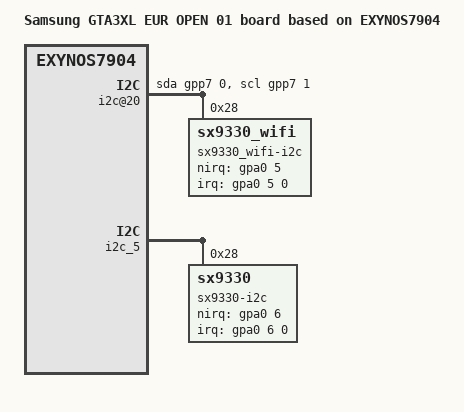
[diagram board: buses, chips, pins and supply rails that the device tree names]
/*
 * SAMSUNG EXYNOS7904 board device tree source

 *
 * Copyright (c) 2018 Samsung Electronics Co., Ltd.
 *		http://www.samsung.com
 *
 * This program is free software; you can redistribute it and/or modify
 * it under the terms of the GNU General Public License version 2 as
 * published by the Free Software Foundation.
*/

/dts-v1/;
/plugin/;

#include "exynos7904-gta3xl_common.dtsi"
#include "exynos7904-gta3xl_eur_open_gpio_00.dtsi"


/ {
	compatible = "samsung,GTA3XL EUR OPEN 01", "samsung,EXYNOS7904";

	dtbo-hw_rev = <1>;
    dtbo-hw_rev_end = <1>;


	fragment@model {
		target-path = "/";
		__overlay__ {
			#address-cells = <2>;
			#size-cells = <1>;

			model = "Samsung GTA3XL EUR OPEN 01 board based on EXYNOS7904";

			i2c@20 {
				compatible = "i2c-gpio";
				gpios = <&gpp7 0 0
						&gpp7 1 0>;
				i2c-gpio,delay-us = <2>;
				pinctrl-names = "default";
				pinctrl-0 = <&grip_i2c>;
				#address-cells = <1>;
				#size-cells = <0>;
				status = "okay";

				sx9330_wifi-i2c@28 {
					compatible = "sx9330_wifi";
					pinctrl-names = "default";
					pinctrl-0 = <&grip_wifi_int>;
					reg = <0x28>;
					interrupt-parent = <&gpa0>;
					interrupts = <5 0 0>;
					sx9330_wifi,nirq-gpio = <&gpa0 5 0>; 

					sx9330,scanperiod_reg = <0x00000019>; /* scanperiod : 51ms */
					sx9330,gnrlctrl2_reg = <0x00FF0002>;
					sx9330,afeparamsph0_reg = <0x0000021F>;
					sx9330,afephph0_reg = <0x3FBB8548>;
					sx9330,adcfiltph0_reg = <0x0510101D>;
					sx9330,afeparamsph1_reg = <0x0000082f>;  /* again : 3.3pF, sampling freq : 111 khz */
					sx9330,adcfiltph1_reg = <0x00205F15>;    /* rawfilt : 1/4, threshold : 4512 */
					sx9330,avgbfilt_reg = <0x60600C00>;   /* AVGPOSFILT : 1/256, AVGNEGFILT : 1/2 */
					sx9330,avgafilt_reg = <0x00000000>;
					sx9330,advdig3_reg = <0x00000000>;
					sx9330,advdig4_reg = <0x00000000>;
					sx9330,refcorra_reg = <0x00000000>;
				};
			};

		}; /* end of __overlay__ */
	}; /* end of fragment */
}; /* end of root */


&i2c_5 {
	status = "okay";
	#address-cells = <1>;
	#size-cells = <0>;
	pinctrl-names = "default";
	pinctrl-0 = <&i2c5_bus>;

	sx9330-i2c@28 {
		compatible = "sx9330";
		pinctrl-names = "default";
		pinctrl-0 = <&grip_int>;
		reg = <0x28>;
		interrupt-parent = <&gpa0>;
		interrupts = <6 0 0>;
		sx9330,nirq-gpio = <&gpa0 6 0>;

		sx9330,scanperiod_reg = <0x00000014>; /* scanperiod : 40ms */
		sx9330,gnrlctrl2_reg = <0x00FF0002>;
		sx9330,afeparamsph0_reg = <0x0000021F>;
		sx9330,afephph0_reg = <0x3FBB8548>;
		sx9330,adcfiltph0_reg = <0x0510101D>;
		sx9330,afeparamsph1_reg = <0x00000807>;  /* again : 3.3pF, sampling freq : 250 khz */
		sx9330,adcfiltph1_reg = <0x00205F15>;    /* rawfilt : 1/4, threshold : 4512 */
		sx9330,avgbfilt_reg = <0x60600C00>;   /* AVGPOSFILT : 1/256, AVGNEGFILT : 1/2 */
		sx9330,avgafilt_reg = <0x00000000>;
		sx9330,advdig3_reg = <0x00000000>;
		sx9330,advdig4_reg = <0x00000000>;
		sx9330,refcorra_reg = <0x00000000>;
	};
};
